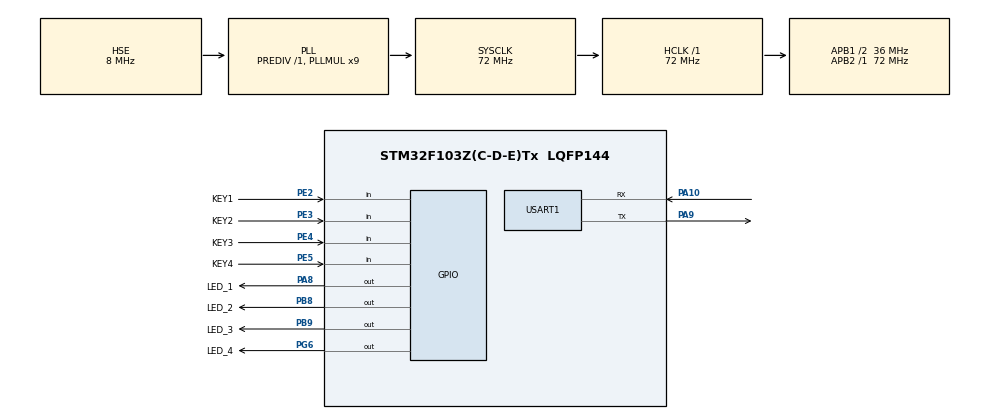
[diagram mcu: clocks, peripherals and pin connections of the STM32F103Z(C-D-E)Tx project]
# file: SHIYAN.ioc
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Mcu.Family=STM32F1
Mcu.Name=STM32F103Z(C-D-E)Tx
Mcu.Package=LQFP144
NVIC.PriorityGroup=NVIC_PRIORITYGROUP_4
OSC_IN.Mode=HSE-External-Oscillator
OSC_IN.Signal=RCC_OSC_IN
OSC_OUT.Mode=HSE-External-Oscillator
OSC_OUT.Signal=RCC_OSC_OUT
PA10.Mode=Asynchronous
PA10.Signal=USART1_RX
PA13.Mode=Serial_Wire
PA13.Signal=SYS_JTMS-SWDIO
PA14.Mode=Serial_Wire
PA14.Signal=SYS_JTCK-SWCLK
PA8.GPIO_Label=LED_1
PA8.PinState=GPIO_PIN_SET
PA8.Signal=GPIO_Output
PA9.Mode=Asynchronous
PA9.Signal=USART1_TX
PB8.GPIO_Label=LED_2
PB8.PinState=GPIO_PIN_SET
PB8.Signal=GPIO_Output
PB9.GPIO_Label=LED_3
PB9.PinState=GPIO_PIN_SET
PB9.Signal=GPIO_Output
PE2.GPIO_Label=KEY1
PE2.GPIO_PuPd=GPIO_PULLUP
PE2.Signal=GPIO_Input
PE3.GPIO_Label=KEY2
PE3.GPIO_PuPd=GPIO_PULLUP
PE3.Signal=GPIO_Input
PE4.GPIO_Label=KEY3
PE4.GPIO_PuPd=GPIO_PULLUP
PE4.Signal=GPIO_Input
PE5.GPIO_Label=KEY4
PE5.GPIO_PuPd=GPIO_PULLUP
PE5.Signal=GPIO_Input
PG6.GPIO_Label=LED_4
PG6.PinState=GPIO_PIN_SET
PG6.Signal=GPIO_Output
ProjectManager.HeapSize=0x200
ProjectManager.StackSize=0x400
ProjectManager.TargetToolchain=MDK-ARM V5.32
RCC.AHBFreq_Value=72000000
RCC.APB1CLKDivider=RCC_HCLK_DIV2
RCC.APB1Freq_Value=36000000
RCC.APB1TimFreq_Value=72000000
RCC.APB2Freq_Value=72000000
RCC.APB2TimFreq_Value=72000000
RCC.HCLKFreq_Value=72000000
RCC.PLLMUL=RCC_PLL_MUL9
RCC.PLLSourceVirtual=RCC_PLLSOURCE_HSE
RCC.SYSCLKFreq_VALUE=72000000
RCC.SYSCLKSource=RCC_SYSCLKSOURCE_PLLCLK
RCC.USBFreq_Value=72000000
USART1.VirtualMode=VM_ASYNC
board=custom

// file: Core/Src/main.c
/* USER CODE BEGIN Header */
/**
  ******************************************************************************
  * @file           : main.c
  * @brief          : Main program body
  ******************************************************************************
  * @attention
  *
  * <h2><center>&copy; Copyright (c) 2026 STMicroelectronics.
  * All rights reserved.</center></h2>
  *
  * This software component is licensed by ST under BSD 3-Clause license,
  * the "License"; You may not use this file except in compliance with the
  * License. You may obtain a copy of the License at:
  *                        opensource.org/licenses/BSD-3-Clause
  *
  ******************************************************************************
  */
/* USER CODE END Header */
#include "main.h"
#include "usart.h"
#include "gpio.h"

/* USER CODE BEGIN Includes */
#include "stdio.h"
/* USER CODE END Includes */

void SystemClock_Config(void);

/* USER CODE BEGIN 0 */
int fputc(int ch, FILE *f)
{
  HAL_UART_Transmit(&huart1, (uint8_t *)&ch, 1, 1000);
  return ch;
}
/* 实验1：LED 流水灯
 * 板上 4 个 LED 都是"低电平点亮"：
 *   3.3V -> 电阻 -> LED -> 引脚
 *   引脚输出 0 (RESET) -> LED 两端有压差 -> 亮
 *   引脚输出 1 (SET)   -> LED 两端都是 3.3V -> 灭
 */

/* 把 4 个 LED 的端口和引脚放进数组，方便用循环依次操作 */
static GPIO_TypeDef * const led_port[4] = {LED_1_GPIO_Port, LED_2_GPIO_Port, LED_3_GPIO_Port, LED_4_GPIO_Port};
static const uint16_t       led_pin[4]  = {LED_1_Pin,       LED_2_Pin,       LED_3_Pin,       LED_4_Pin};

/* 点亮第 n 个 LED（n = 0~3） */
static void LED_On(uint8_t n)
{
  HAL_GPIO_WritePin(led_port[n], led_pin[n], GPIO_PIN_RESET);  /* 输出低电平 -> 亮 */
}

/* 熄灭第 n 个 LED */
static void LED_Off(uint8_t n)
{
  HAL_GPIO_WritePin(led_port[n], led_pin[n], GPIO_PIN_SET);    /* 输出高电平 -> 灭 */
}

/*轮询外部按键是否按下+按键的软件消抖*/
static uint8_t KEY_Pressed(void)
{
  int a = 0;//用于看是哪个按键按下
  if(HAL_GPIO_ReadPin(KEY1_GPIO_Port, KEY1_Pin) == GPIO_PIN_RESET)
  {
    HAL_Delay(10); //延时10ms，消抖
    if(HAL_GPIO_ReadPin(KEY1_GPIO_Port, KEY1_Pin) == GPIO_PIN_RESET)
    {
      while(HAL_GPIO_ReadPin(KEY1_GPIO_Port, KEY1_Pin) == GPIO_PIN_RESET); //等待按键松开
      a = 1;
    }
  }
  if(HAL_GPIO_ReadPin(KEY2_GPIO_Port, KEY2_Pin) == GPIO_PIN_RESET)
  {
    HAL_Delay(10); //延时10ms，消抖
    if(HAL_GPIO_ReadPin(KEY2_GPIO_Port, KEY2_Pin) == GPIO_PIN_RESET)
    {
      while(HAL_GPIO_ReadPin(KEY2_GPIO_Port, KEY2_Pin) == GPIO_PIN_RESET); //等待按键松开
      a = 2;
    }
  }
  if(HAL_GPIO_ReadPin(KEY3_GPIO_Port, KEY3_Pin) == GPIO_PIN_RESET)
  {
    HAL_Delay(10); //延时10ms，消抖
    if(HAL_GPIO_ReadPin(KEY3_GPIO_Port, KEY3_Pin) == GPIO_PIN_RESET)
    {
      while(HAL_GPIO_ReadPin(KEY3_GPIO_Port, KEY3_Pin) == GPIO_PIN_RESET); //等待按键松开
      a = 3;
    }
  }
  if(HAL_GPIO_ReadPin(KEY4_GPIO_Port, KEY4_Pin) == GPIO_PIN_RESET)
  {
    HAL_Delay(10); //延时10ms，消抖
    if(HAL_GPIO_ReadPin(KEY4_GPIO_Port, KEY4_Pin) == GPIO_PIN_RESET)
    {
      while(HAL_GPIO_ReadPin(KEY4_GPIO_Port, KEY4_Pin) == GPIO_PIN_RESET); //等待按键松开
      a = 4;
    }
  }
  return a;
}
/* USER CODE END 0 */

int main(void)
{
  /* USER CODE BEGIN 1 */
  int i = 0; // 判断那个按键被按下
  /* USER CODE END 1 */

  /* MCU Configuration--------------------------------------------------------*/

  /* Reset of all peripherals, Initializes the Flash interface and the Systick. */
  HAL_Init();

  /* Configure the system clock */
  SystemClock_Config();

  /* Initialize all configured peripherals */
  MX_GPIO_Init();
  MX_USART1_UART_Init();
  /* USER CODE BEGIN 2 */
  printf("\r\nSTM32 start! Press KEY1~KEY4\r\n");   /* 开机提示，用来确认程序在运行 */
  /* USER CODE END 2 */

  /* Infinite loop */
  while (1)
  {

    /* USER CODE BEGIN 3 */
    /* 实验2+4：按键控制 LED，并用 printf 通过串口打印 */
    i = KEY_Pressed();                 /* 0 = 没按；1~4 = 对应按键 */

    if (i == 1) HAL_GPIO_TogglePin(LED_1_GPIO_Port, LED_1_Pin);
    if (i == 2) HAL_GPIO_TogglePin(LED_2_GPIO_Port, LED_2_Pin);
    if (i == 3) HAL_GPIO_TogglePin(LED_3_GPIO_Port, LED_3_Pin);
    if (i == 4) HAL_GPIO_TogglePin(LED_4_GPIO_Port, LED_4_Pin);

    if (i != 0)                        /* 有按键按下才打印 */
    {
      printf("KEY%d pressed, LED%d toggled\r\n", i, i);
    }
  }
  /* USER CODE END 3 */
}

void SystemClock_Config(void)
{
  RCC_OscInitTypeDef RCC_OscInitStruct = {0};
  RCC_ClkInitTypeDef RCC_ClkInitStruct = {0};

  /** Initializes the RCC Oscillators according to the specified parameters
  * in the RCC_OscInitTypeDef structure.
  */
  RCC_OscInitStruct.OscillatorType = RCC_OSCILLATORTYPE_HSE;
  RCC_OscInitStruct.HSEState = RCC_HSE_ON;
  RCC_OscInitStruct.HSEPredivValue = RCC_HSE_PREDIV_DIV1;
  RCC_OscInitStruct.HSIState = RCC_HSI_ON;
  RCC_OscInitStruct.PLL.PLLState = RCC_PLL_ON;
  RCC_OscInitStruct.PLL.PLLSource = RCC_PLLSOURCE_HSE;
  RCC_OscInitStruct.PLL.PLLMUL = RCC_PLL_MUL9;
  if (HAL_RCC_OscConfig(&RCC_OscInitStruct) != HAL_OK)
  {
    Error_Handler();
  }
  /** Initializes the CPU, AHB and APB buses clocks
  */
  RCC_ClkInitStruct.ClockType = RCC_CLOCKTYPE_HCLK|RCC_CLOCKTYPE_SYSCLK
                              |RCC_CLOCKTYPE_PCLK1|RCC_CLOCKTYPE_PCLK2;
  RCC_ClkInitStruct.SYSCLKSource = RCC_SYSCLKSOURCE_PLLCLK;
  RCC_ClkInitStruct.AHBCLKDivider = RCC_SYSCLK_DIV1;
  RCC_ClkInitStruct.APB1CLKDivider = RCC_HCLK_DIV2;
  RCC_ClkInitStruct.APB2CLKDivider = RCC_HCLK_DIV1;

  if (HAL_RCC_ClockConfig(&RCC_ClkInitStruct, FLASH_LATENCY_2) != HAL_OK)
  {
    Error_Handler();
  }
}

void Error_Handler(void)
{
  __disable_irq();
  while (1)
  {
  }
}

/************************ (C) COPYRIGHT STMicroelectronics *****END OF FILE****/
